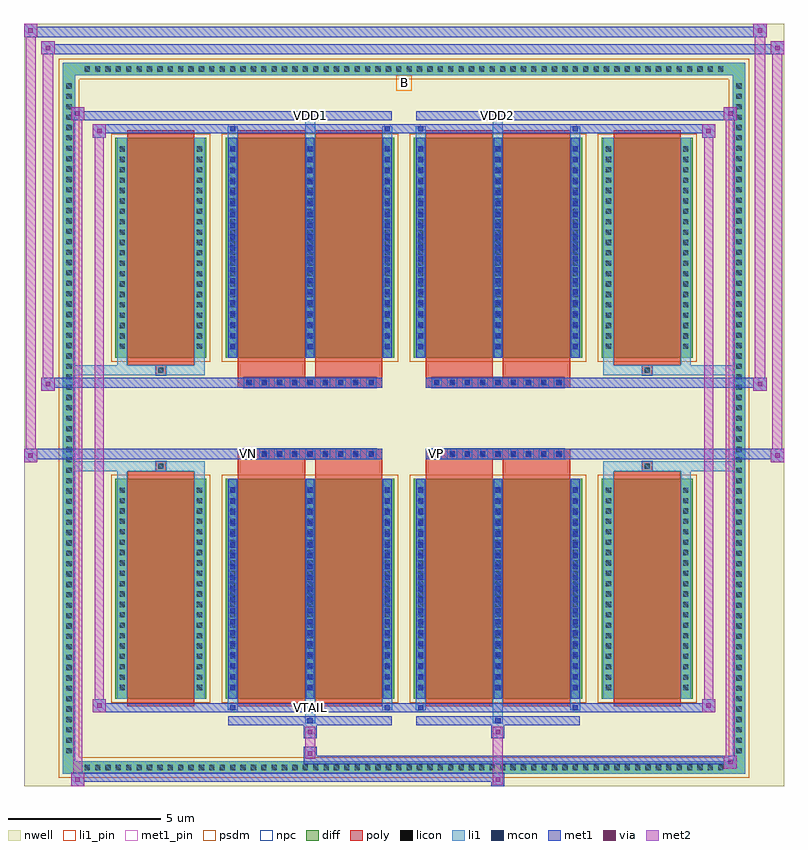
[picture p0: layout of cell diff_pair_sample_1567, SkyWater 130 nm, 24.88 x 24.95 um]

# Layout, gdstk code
import gdstk
lib = gdstk.Library(unit=1e-6, precision=5e-09)
def R(c, l, rs):  # rectangles x0, y0, x1, y1
    for r in rs: c.add(gdstk.rectangle(r[:2], r[2:], *l))
def A(c, l, x, y, w, h, nx, ny, dx, dy):  # array of equal rectangles
    R(c, l, [(x+i*dx, y+j*dy, x+i*dx+w, y+j*dy+h) for i in range(nx) for j in range(ny)])
def P(c, l, *ps):  # polygons
    for p in ps: c.add(gdstk.Polygon(p, *l))
nwell = (64, 20)
diff = (65, 20)
poly = (66, 20)
licon = (66, 44)
li1_pin = (67, 16)
li1 = (67, 20)
mcon = (67, 44)
met1_pin = (68, 16)
met1 = (68, 20)
via = (68, 44)
met2 = (69, 20)
psdm = (94, 20)
npc = (95, 20)

diff_pair_sample_1567 = lib.new_cell('diff_pair_sample_1567')
R(diff_pair_sample_1567, nwell, [(-12.44,-12.04,12.44,12.91), (-9.76,-10.23,-0.01,-0.805), (0.01,-10.23,9.76,-0.805), (-9.76,0.805,-0.01,10.23), (0.01,0.805,9.76,10.23)])
A(diff_pair_sample_1567, diff, -10.575, -11.64, 0.41, 0.41, 62, 2, 0.34, 22.87)
A(diff_pair_sample_1567, diff, -11.17, -11.085, 0.41, 0.41, 1, 65, 0, 0.34)
A(diff_pair_sample_1567, diff, 10.76, -11.085, 0.41, 0.41, 1, 65, 0, 0.34)
R(diff_pair_sample_1567, diff, [(-10.575,-11.64,10.575,-11.23), (-11.17,-11.085,-10.76,11.085), (10.76,-11.085,11.17,11.085), (-9.45,-9.185,-6.47,-1.985), (-5.83,-9.185,-0.32,-1.985), (0.32,-9.185,5.83,-1.985), (6.47,-9.185,9.45,-1.985), (-9.45,1.985,-6.47,9.185), (-5.83,1.985,-0.32,9.185), (0.32,1.985,5.83,9.185), (6.47,1.985,9.45,9.185), (-10.575,11.23,10.575,11.64)])
P(diff_pair_sample_1567, diff, [(11.17,11.64),(-11.17,11.64),(-11.17,-11.23),(-10.76,-11.23),(-10.76,11.23),(10.76,11.23),(10.76,-11.23),(-10.76,-11.23),(-11.17,-11.23),(-11.17,-11.64),(11.17,-11.64)])
A(diff_pair_sample_1567, poly, -5.24, -1.335, 0.33, 0.33, 9, 2, 0.5, 2.34)
A(diff_pair_sample_1567, poly, 0.91, -1.335, 0.33, 0.33, 9, 2, 0.5, 2.34)
R(diff_pair_sample_1567, poly, [(-9.06,-9.435,-6.86,-1.735), (-5.44,-9.435,-3.24,-1.735), (-2.91,-9.435,-0.71,-1.735), (0.71,-9.435,2.91,-1.735), (3.24,-9.435,5.44,-1.735), (6.86,-9.435,9.06,-1.735), (-8.125,-1.735,-7.795,-1.405), (-8.125,-1.735,-7.795,-1.405), (-5.44,-1.735,-3.24,-1.335), (-2.91,-1.735,-0.71,-1.335), (0.71,-1.735,2.91,-1.335), (3.24,-1.735,5.44,-1.335), (7.795,-1.735,8.125,-1.405), (7.795,-1.735,8.125,-1.405), (-5.44,-1.335,-0.71,-1.005), (0.71,-1.335,5.44,-1.005), (-5.44,1.005,-0.71,1.335), (0.71,1.005,5.44,1.335), (-5.44,1.335,-3.24,1.735), (-2.91,1.335,-0.71,1.735), (0.71,1.335,2.91,1.735), (3.24,1.335,5.44,1.735), (-8.125,1.405,-7.795,1.735), (-8.125,1.405,-7.795,1.735), (7.795,1.405,8.125,1.735), (7.795,1.405,8.125,1.735), (-9.06,1.735,-6.86,9.435), (-5.44,1.735,-3.24,9.435), (-2.91,1.735,-0.71,9.435), (0.71,1.735,2.91,9.435), (3.24,1.735,5.44,9.435), (6.86,1.735,9.06,9.435)])
A(diff_pair_sample_1567, licon, -10.455, -11.52, 0.17, 0.17, 62, 2, 0.34, 22.87)
A(diff_pair_sample_1567, licon, -11.05, -10.965, 0.17, 0.17, 1, 65, 0, 0.34)
A(diff_pair_sample_1567, licon, 10.88, -10.965, 0.17, 0.17, 1, 65, 0, 0.34)
A(diff_pair_sample_1567, licon, -9.31, -8.9, 0.17, 0.17, 1, 20, 0, 0.34)
A(diff_pair_sample_1567, licon, -6.78, -8.9, 0.17, 0.17, 1, 20, 0, 0.34)
A(diff_pair_sample_1567, licon, -5.69, -8.9, 0.17, 0.17, 3, 20, 2.53, 0.34)
A(diff_pair_sample_1567, licon, 0.46, -8.9, 0.17, 0.17, 3, 20, 2.53, 0.34)
A(diff_pair_sample_1567, licon, 6.61, -8.9, 0.17, 0.17, 1, 20, 0, 0.34)
A(diff_pair_sample_1567, licon, 9.14, -8.9, 0.17, 0.17, 1, 20, 0, 0.34)
A(diff_pair_sample_1567, licon, -5.16, -1.255, 0.17, 0.17, 9, 2, 0.5, 2.34)
A(diff_pair_sample_1567, licon, 0.99, -1.255, 0.17, 0.17, 9, 2, 0.5, 2.34)
A(diff_pair_sample_1567, licon, -9.31, 2.27, 0.17, 0.17, 1, 20, 0, 0.34)
A(diff_pair_sample_1567, licon, -6.78, 2.27, 0.17, 0.17, 1, 20, 0, 0.34)
A(diff_pair_sample_1567, licon, -5.69, 2.27, 0.17, 0.17, 3, 20, 2.53, 0.34)
A(diff_pair_sample_1567, licon, 0.46, 2.27, 0.17, 0.17, 3, 20, 2.53, 0.34)
A(diff_pair_sample_1567, licon, 6.61, 2.27, 0.17, 0.17, 1, 20, 0, 0.34)
A(diff_pair_sample_1567, licon, 9.14, 2.27, 0.17, 0.17, 1, 20, 0, 0.34)
R(diff_pair_sample_1567, licon, [(-8.045,-1.655,-7.875,-1.485), (7.875,-1.655,8.045,-1.485), (-8.045,1.485,-7.875,1.655), (7.875,1.485,8.045,1.655)])
R(diff_pair_sample_1567, li1_pin, [(-0.25,10.73,0.25,11.23)])
A(diff_pair_sample_1567, li1, -10.535, -11.6, 0.33, 0.33, 62, 2, 0.34, 22.87)
A(diff_pair_sample_1567, li1, -11.13, -11.045, 0.33, 0.33, 1, 65, 0, 0.34)
A(diff_pair_sample_1567, li1, 10.8, -11.045, 0.33, 0.33, 1, 65, 0, 0.34)
A(diff_pair_sample_1567, li1, -5.77, -9.185, 0.33, 7.2, 3, 2, 2.53, 11.17)
A(diff_pair_sample_1567, li1, 0.38, -9.185, 0.33, 7.2, 3, 2, 2.53, 11.17)
A(diff_pair_sample_1567, li1, -9.39, -8.98, 0.33, 0.33, 1, 20, 0, 0.34)
A(diff_pair_sample_1567, li1, -6.86, -8.98, 0.33, 0.33, 1, 20, 0, 0.34)
A(diff_pair_sample_1567, li1, -5.77, -8.98, 0.33, 0.33, 3, 20, 2.53, 0.34)
A(diff_pair_sample_1567, li1, 0.38, -8.98, 0.33, 0.33, 3, 20, 2.53, 0.34)
A(diff_pair_sample_1567, li1, 6.53, -8.98, 0.33, 0.33, 1, 20, 0, 0.34)
A(diff_pair_sample_1567, li1, 9.06, -8.98, 0.33, 0.33, 1, 20, 0, 0.34)
A(diff_pair_sample_1567, li1, -5.69, -8.91, 0.17, 0.17, 3, 19, 2.53, 0.36)
A(diff_pair_sample_1567, li1, -5.69, -8.91, 0.17, 6.65, 3, 2, 2.53, 11.17)
A(diff_pair_sample_1567, li1, 0.46, -8.91, 0.17, 0.17, 3, 19, 2.53, 0.36)
A(diff_pair_sample_1567, li1, 0.46, -8.91, 0.17, 6.65, 3, 2, 2.53, 11.17)
A(diff_pair_sample_1567, li1, -5.24, -1.335, 0.33, 0.33, 9, 2, 0.5, 2.34)
A(diff_pair_sample_1567, li1, 0.91, -1.335, 0.33, 0.33, 9, 2, 0.5, 2.34)
A(diff_pair_sample_1567, li1, -9.39, 2.19, 0.33, 0.33, 1, 20, 0, 0.34)
A(diff_pair_sample_1567, li1, -6.86, 2.19, 0.33, 0.33, 1, 20, 0, 0.34)
A(diff_pair_sample_1567, li1, -5.77, 2.19, 0.33, 0.33, 3, 20, 2.53, 0.34)
A(diff_pair_sample_1567, li1, 0.38, 2.19, 0.33, 0.33, 3, 20, 2.53, 0.34)
A(diff_pair_sample_1567, li1, 6.53, 2.19, 0.33, 0.33, 1, 20, 0, 0.34)
A(diff_pair_sample_1567, li1, 9.06, 2.19, 0.33, 0.33, 1, 20, 0, 0.34)
A(diff_pair_sample_1567, li1, -5.69, 2.26, 0.17, 0.17, 3, 19, 2.53, 0.36)
A(diff_pair_sample_1567, li1, 0.46, 2.26, 0.17, 0.17, 3, 19, 2.53, 0.36)
R(diff_pair_sample_1567, li1, [(-11.17,-11.64,-10.76,-11.23), (-11.17,-11.64,-10.76,-11.23), (-10.76,-11.64,10.76,-11.23), (10.76,-11.64,11.17,-11.23), (10.76,-11.64,11.17,-11.23), (-11.17,-11.23,-10.76,11.23), (10.76,-11.23,11.17,11.23), (-3.24,-9.99,-2.91,-9.185), (-3.16,-9.99,-2.99,-9.82), (2.91,-9.99,3.24,-9.185), (2.99,-9.99,3.16,-9.82), (-5.77,-9.56,-5.44,-9.185), (-5.69,-9.56,-5.52,-9.39), (-0.71,-9.56,-0.38,-9.185), (-0.63,-9.56,-0.46,-9.39), (0.38,-9.56,0.71,-9.185), (0.46,-9.56,0.63,-9.39), (5.44,-9.56,5.77,-9.185), (5.52,-9.56,5.69,-9.39), (-9.39,-9.185,-9.06,-1.985), (-6.86,-9.185,-6.53,-1.985), (6.53,-9.185,6.86,-1.985), (9.06,-9.185,9.39,-1.985), (-9.39,-1.985,-9.06,-1.405), (-6.86,-1.985,-6.53,-1.405), (6.53,-1.985,6.86,-1.405), (9.06,-1.985,9.39,-1.405), (-11.17,-1.735,-8.125,-1.405), (-9.39,-1.735,-8.125,-1.405), (-8.125,-1.735,-7.795,-1.405), (-7.795,-1.735,-6.53,-1.405), (6.53,-1.735,7.795,-1.405), (7.795,-1.735,8.125,-1.405), (7.795,-1.735,11.17,-1.405), (8.125,-1.735,9.39,-1.405), (-11.17,1.405,-8.125,1.735), (-9.39,1.405,-8.125,1.735), (-9.39,1.405,-9.06,1.985), (-8.125,1.405,-7.795,1.735), (-7.795,1.405,-6.53,1.735), (-6.86,1.405,-6.53,1.985), (6.53,1.405,7.795,1.735), (6.53,1.405,6.86,1.985), (7.795,1.405,8.125,1.735), (7.795,1.405,11.17,1.735), (8.125,1.405,9.39,1.735), (9.06,1.405,9.39,1.985), (-9.39,1.985,-9.06,9.185), (-6.86,1.985,-6.53,9.185), (6.53,1.985,6.86,9.185), (9.06,1.985,9.39,9.185), (-5.77,9.185,-5.44,9.56), (-3.24,9.185,-2.91,9.99), (-0.71,9.185,-0.38,9.56), (0.38,9.185,0.71,9.56), (2.91,9.185,3.24,9.99), (5.44,9.185,5.77,9.56), (-5.69,9.39,-5.52,9.56), (-0.63,9.39,-0.46,9.56), (0.46,9.39,0.63,9.56), (5.52,9.39,5.69,9.56), (-3.16,9.82,-2.99,9.99), (2.99,9.82,3.16,9.99), (-11.17,11.23,-10.76,11.64), (-11.17,11.23,-10.76,11.64), (-10.76,11.23,10.76,11.64), (10.76,11.23,11.17,11.64), (10.76,11.23,11.17,11.64)])
A(diff_pair_sample_1567, mcon, -5.69, -8.91, 0.17, 0.17, 3, 19, 2.53, 0.36)
A(diff_pair_sample_1567, mcon, 0.46, -8.91, 0.17, 0.17, 3, 19, 2.53, 0.36)
A(diff_pair_sample_1567, mcon, -5.16, -1.255, 0.17, 0.17, 9, 2, 0.5, 2.34)
A(diff_pair_sample_1567, mcon, 0.99, -1.255, 0.17, 0.17, 9, 2, 0.5, 2.34)
A(diff_pair_sample_1567, mcon, -5.69, 2.26, 0.17, 0.17, 3, 19, 2.53, 0.36)
A(diff_pair_sample_1567, mcon, 0.46, 2.26, 0.17, 0.17, 3, 19, 2.53, 0.36)
R(diff_pair_sample_1567, mcon, [(-3.16,-9.99,-2.99,-9.82), (2.99,-9.99,3.16,-9.82), (-5.69,-9.56,-5.52,-9.39), (-0.63,-9.56,-0.46,-9.39), (0.46,-9.56,0.63,-9.39), (5.52,-9.56,5.69,-9.39), (-5.69,9.39,-5.52,9.56), (-0.63,9.39,-0.46,9.56), (0.46,9.39,0.63,9.56), (5.52,9.39,5.69,9.56), (-3.16,9.82,-2.99,9.99), (2.99,9.82,3.16,9.99)])
R(diff_pair_sample_1567, met1_pin, [(-3.21,-9.6,-2.94,-9.33), (-5.21,-1.295,-4.94,-1.025), (0.94,-1.295,1.21,-1.025), (-3.21,9.78,-2.94,10.05), (2.94,9.78,3.21,10.05)])
A(diff_pair_sample_1567, met1, -5.75, -9.185, 0.29, 7.2, 3, 2, 2.53, 11.17)
A(diff_pair_sample_1567, met1, 0.4, -9.185, 0.29, 7.2, 3, 2, 2.53, 11.17)
A(diff_pair_sample_1567, met1, -5.75, -8.97, 0.29, 0.29, 3, 19, 2.53, 0.36)
A(diff_pair_sample_1567, met1, 0.4, -8.97, 0.29, 0.29, 3, 19, 2.53, 0.36)
A(diff_pair_sample_1567, met1, -5.22, -1.315, 0.29, 0.29, 9, 2, 0.5, 2.34)
A(diff_pair_sample_1567, met1, 0.93, -1.315, 0.29, 0.29, 9, 2, 0.5, 2.34)
A(diff_pair_sample_1567, met1, -5.75, 2.2, 0.29, 0.29, 3, 19, 2.53, 0.36)
A(diff_pair_sample_1567, met1, 0.4, 2.2, 0.29, 0.29, 3, 19, 2.53, 0.36)
R(diff_pair_sample_1567, met1, [(-10.9,-12.04,-10.47,-11.61), (2.86,-12.04,3.29,-11.61), (-10.9,-11.9,3.29,-11.61), (10.47,-11.47,10.9,-11.04), (-3.29,-11.33,10.9,-11.04), (-3.29,-11.19,-2.86,-10.76), (-3.29,-10.48,-2.86,-10.05), (2.86,-10.48,3.29,-10.05), (-5.75,-10.05,-0.4,-9.76), (-3.22,-10.05,-2.93,-9.76), (0.4,-10.05,5.75,-9.76), (2.93,-10.05,3.22,-9.76), (-10.19,-9.62,-9.76,-9.19), (-10.19,-9.62,-5.75,-9.33), (-5.75,-9.62,-5.46,-9.33), (-5.75,-9.62,-0.4,-9.33), (-0.69,-9.62,-0.4,-9.33), (-0.4,-9.62,0.4,-9.33), (0.4,-9.62,0.69,-9.33), (0.4,-9.62,5.75,-9.33), (5.46,-9.62,5.75,-9.33), (5.75,-9.62,10.19,-9.33), (9.76,-9.62,10.19,-9.19), (-12.44,-1.435,-12.01,-1.005), (12.01,-1.435,12.44,-1.005), (-12.44,-1.335,-0.71,-1.005), (-5.44,-1.335,-0.71,-1.005), (0.71,-1.335,5.44,-1.005), (0.71,-1.335,12.44,-1.005), (-11.87,0.905,-11.44,1.335), (11.44,0.905,11.87,1.335), (-11.87,1.005,-5.44,1.335), (-5.44,1.005,-0.71,1.335), (0.71,1.005,5.44,1.335), (5.44,1.005,11.87,1.335), (-10.19,9.19,-9.76,9.62), (9.76,9.19,10.19,9.62), (-10.19,9.33,-5.75,9.62), (-5.75,9.33,-5.46,9.62), (-5.75,9.33,-0.4,9.62), (-0.69,9.33,-0.4,9.62), (-0.4,9.33,0.4,9.62), (0.4,9.33,0.69,9.62), (0.4,9.33,5.75,9.62), (5.46,9.33,5.75,9.62), (5.75,9.33,10.19,9.62), (-10.9,9.76,-10.47,10.19), (-10.9,9.76,-5.75,10.05), (-5.75,9.76,-0.4,10.05), (-3.22,9.76,-2.93,10.05), (0.4,9.76,5.75,10.05), (2.93,9.76,3.22,10.05), (5.75,9.76,10.9,10.05), (10.47,9.76,10.9,10.19), (-11.87,11.91,-11.44,12.34), (-11.87,11.91,-9.76,12.24), (-9.76,11.91,9.76,12.24), (9.76,11.91,12.44,12.24), (12.01,11.91,12.44,12.34), (-12.44,12.48,-12.01,12.91), (-12.44,12.48,-9.76,12.81), (-9.76,12.48,9.76,12.81), (9.76,12.48,11.87,12.81), (11.44,12.48,11.87,12.91)])
R(diff_pair_sample_1567, via, [(-10.76,-11.9,-10.61,-11.75), (3,-11.9,3.15,-11.75), (10.61,-11.33,10.76,-11.18), (-3.15,-11.05,-3,-10.9), (-3.15,-10.34,-3,-10.19), (3,-10.34,3.15,-10.19), (-10.05,-9.48,-9.9,-9.33), (9.9,-9.48,10.05,-9.33), (-12.3,-1.295,-12.15,-1.145), (12.15,-1.295,12.3,-1.145), (-11.73,1.045,-11.58,1.195), (11.58,1.045,11.73,1.195), (-10.05,9.33,-9.9,9.48), (9.9,9.33,10.05,9.48), (-10.76,9.9,-10.61,10.05), (10.61,9.9,10.76,10.05), (-11.73,12.05,-11.58,12.2), (12.15,12.05,12.3,12.2), (-12.3,12.62,-12.15,12.77), (11.58,12.62,11.73,12.77)])
R(diff_pair_sample_1567, met2, [(-10.9,-12.04,-10.47,-11.61), (-10.83,-12.04,-10.54,10.19), (-10.54,-12.04,-10.47,-11.61), (-10.85,-11.99,-10.52,-11.66), (2.91,-11.99,3.24,-11.66), (2.91,-11.66,3.24,-10.43), (10.47,-11.47,10.9,-11.04), (10.54,-11.47,10.83,10.19), (10.83,-11.47,10.9,-11.04), (10.52,-11.42,10.85,-11.09), (-3.24,-11.14,-2.91,-10.81), (-3.24,-10.81,-2.91,-10.43), (-3.24,-10.43,-2.91,-10.1), (2.91,-10.43,3.24,-10.1), (-10.19,-9.62,-9.76,-9.19), (-10.12,-9.62,-9.83,9.62), (-9.83,-9.62,-9.76,-9.19), (9.76,-9.62,10.19,-9.19), (9.83,-9.62,10.12,9.62), (10.12,-9.62,10.19,-9.19), (-10.14,-9.57,-9.81,-9.24), (9.81,-9.57,10.14,-9.24), (-12.44,-1.435,-12.01,-1.005), (-12.39,-1.435,-12.06,12.91), (-12.06,-1.435,-12.01,-1.005), (12.01,-1.435,12.44,-1.005), (12.06,-1.435,12.39,12.34), (12.39,-1.435,12.44,-1.005), (-12.39,-1.385,-12.06,-1.055), (12.06,-1.385,12.39,-1.055), (-11.87,0.905,-11.44,1.335), (-11.82,0.905,-11.49,12.34), (-11.49,0.905,-11.44,1.335), (11.44,0.905,11.87,1.335), (11.49,0.905,11.82,12.91), (11.82,0.905,11.87,1.335), (-11.82,0.955,-11.49,1.285), (11.49,0.955,11.82,1.285), (-10.19,9.19,-9.76,9.62), (-9.83,9.19,-9.76,9.62), (9.76,9.19,10.19,9.62), (10.12,9.19,10.19,9.62), (-10.14,9.24,-9.81,9.57), (9.81,9.24,10.14,9.57), (-10.9,9.76,-10.47,10.19), (-10.54,9.76,-10.47,10.19), (10.47,9.76,10.9,10.19), (10.83,9.76,10.9,10.19), (-10.85,9.81,-10.52,10.14), (10.52,9.81,10.85,10.14), (-11.87,11.91,-11.44,12.34), (-11.49,11.91,-11.44,12.34), (12.01,11.91,12.44,12.34), (12.39,11.91,12.44,12.34), (-11.82,11.96,-11.49,12.29), (12.06,11.96,12.39,12.29), (-12.44,12.48,-12.01,12.91), (-12.06,12.48,-12.01,12.91), (11.44,12.48,11.87,12.91), (11.82,12.48,11.87,12.91), (-12.39,12.53,-12.06,12.86), (11.49,12.53,11.82,12.86)])
R(diff_pair_sample_1567, psdm, [(-9.58,-9.315,-6.34,-1.855), (-5.96,-9.315,-0.19,-1.855), (0.19,-9.315,5.96,-1.855), (6.34,-9.315,9.58,-1.855), (-9.58,1.855,-6.34,9.315), (-5.96,1.855,-0.19,9.315), (0.19,1.855,5.96,9.315), (6.34,1.855,9.58,9.315)])
P(diff_pair_sample_1567, psdm, [(11.3,11.77),(-11.3,11.77),(-11.3,-11.1),(-10.63,-11.1),(-10.63,11.1),(10.63,11.1),(10.63,-11.1),(-10.63,-11.1),(-11.3,-11.1),(-11.3,-11.77),(11.3,-11.77)])
A(diff_pair_sample_1567, npc, -5.26, -1.355, 0.37, 0.37, 9, 2, 0.5, 2.34)
A(diff_pair_sample_1567, npc, 0.89, -1.355, 0.37, 0.37, 9, 2, 0.5, 2.34)
R(diff_pair_sample_1567, npc, [(-8.145,-1.755,-7.775,-1.385), (7.775,-1.755,8.145,-1.385), (-5.26,-1.355,-4.39,-0.985), (-5.26,-1.355,-4.39,-0.985), (-4.76,-1.355,-3.89,-0.985), (-4.76,-1.355,-3.89,-0.985), (-4.26,-1.355,-3.39,-0.985), (-4.26,-1.355,-3.39,-0.985), (-3.76,-1.355,-2.89,-0.985), (-3.76,-1.355,-2.89,-0.985), (-3.26,-1.355,-2.39,-0.985), (-3.26,-1.355,-2.39,-0.985), (-2.76,-1.355,-1.89,-0.985), (-2.76,-1.355,-1.89,-0.985), (-2.26,-1.355,-1.39,-0.985), (-2.26,-1.355,-1.39,-0.985), (-1.76,-1.355,-0.89,-0.985), (-1.76,-1.355,-0.89,-0.985), (0.89,-1.355,1.76,-0.985), (0.89,-1.355,1.76,-0.985), (1.39,-1.355,2.26,-0.985), (1.39,-1.355,2.26,-0.985), (1.89,-1.355,2.76,-0.985), (1.89,-1.355,2.76,-0.985), (2.39,-1.355,3.26,-0.985), (2.39,-1.355,3.26,-0.985), (2.89,-1.355,3.76,-0.985), (2.89,-1.355,3.76,-0.985), (3.39,-1.355,4.26,-0.985), (3.39,-1.355,4.26,-0.985), (3.89,-1.355,4.76,-0.985), (3.89,-1.355,4.76,-0.985), (4.39,-1.355,5.26,-0.985), (4.39,-1.355,5.26,-0.985), (-5.26,0.985,-4.39,1.355), (-5.26,0.985,-4.39,1.355), (-4.76,0.985,-3.89,1.355), (-4.76,0.985,-3.89,1.355), (-4.26,0.985,-3.39,1.355), (-4.26,0.985,-3.39,1.355), (-3.76,0.985,-2.89,1.355), (-3.76,0.985,-2.89,1.355), (-3.26,0.985,-2.39,1.355), (-3.26,0.985,-2.39,1.355), (-2.76,0.985,-1.89,1.355), (-2.76,0.985,-1.89,1.355), (-2.26,0.985,-1.39,1.355), (-2.26,0.985,-1.39,1.355), (-1.76,0.985,-0.89,1.355), (-1.76,0.985,-0.89,1.355), (0.89,0.985,1.76,1.355), (0.89,0.985,1.76,1.355), (1.39,0.985,2.26,1.355), (1.39,0.985,2.26,1.355), (1.89,0.985,2.76,1.355), (1.89,0.985,2.76,1.355), (2.39,0.985,3.26,1.355), (2.39,0.985,3.26,1.355), (2.89,0.985,3.76,1.355), (2.89,0.985,3.76,1.355), (3.39,0.985,4.26,1.355), (3.39,0.985,4.26,1.355), (3.89,0.985,4.76,1.355), (3.89,0.985,4.76,1.355), (4.39,0.985,5.26,1.355), (4.39,0.985,5.26,1.355), (-8.145,1.385,-7.775,1.755), (7.775,1.385,8.145,1.755)])
diff_pair_sample_1567.add(gdstk.Label('VTAIL', (-3.075,-9.465), layer=68, texttype=5))
diff_pair_sample_1567.add(gdstk.Label('VN', (-5.075,-1.16), layer=68, texttype=5))
diff_pair_sample_1567.add(gdstk.Label('VP', (1.075,-1.16), layer=68, texttype=5))
diff_pair_sample_1567.add(gdstk.Label('B', (0,10.98), layer=67, texttype=5))
diff_pair_sample_1567.add(gdstk.Label('VDD2', (3.075,9.915), layer=68, texttype=5))
diff_pair_sample_1567.add(gdstk.Label('VDD1', (-3.075,9.915), layer=68, texttype=5))

lib.write_gds('diff_pair_sample_1567.gds')
